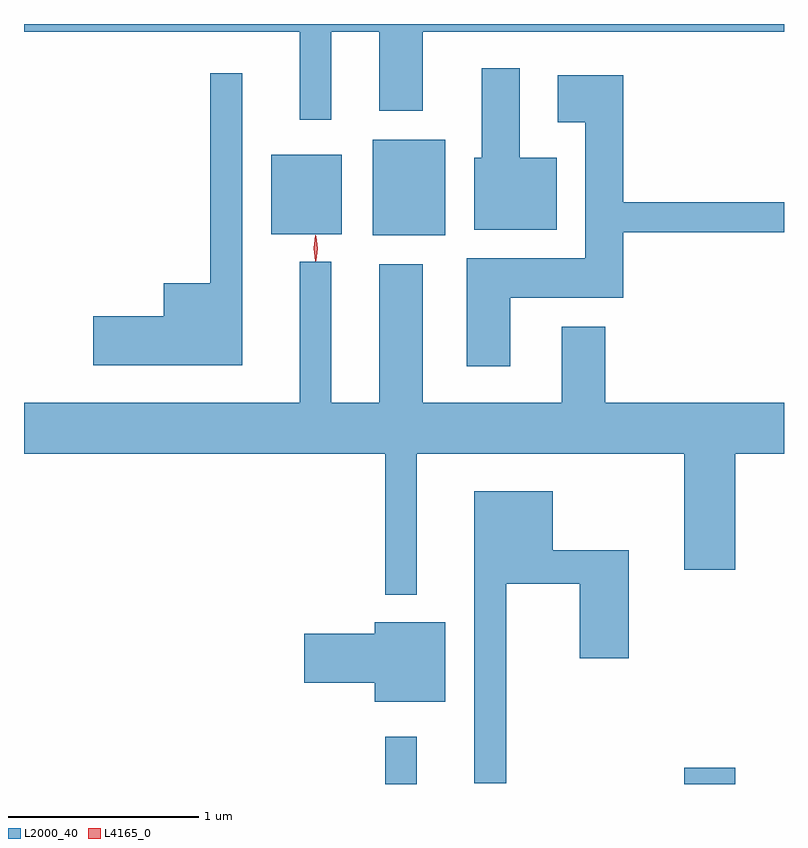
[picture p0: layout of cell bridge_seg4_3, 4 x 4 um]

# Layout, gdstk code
import gdstk
lib = gdstk.Library(unit=1e-6, precision=1e-09)
def R(c, l, rs):  # rectangles x0, y0, x1, y1
    for r in rs: c.add(gdstk.rectangle(r[:2], r[2:], *l))
def P(c, l, *ps):  # polygons
    for p in ps: c.add(gdstk.Polygon(p, *l))
L2000_40 = (2000, 40)
L4165_0 = (4165, 0)

bridge_seg4_3 = lib.new_cell('bridge_seg4_3')
R(bridge_seg4_3, L2000_40, [(1252.461,1379.578,1252.629,1379.828), (1254.036,1379.578,1254.304,1379.664), (1252.396,1382.466,1252.779,1382.969), (1251.861,1382.471,1252.234,1382.889)])
P(bridge_seg4_3, L2000_40, [(1252.179,1383.536),(1252.431,1383.536),(1252.431,1383.121),(1252.659,1383.121),(1252.659,1383.536),(1254.561,1383.536),(1254.561,1383.578),(1250.561,1383.578),(1250.561,1383.536),(1252.011,1383.536),(1252.011,1383.073),(1252.179,1383.073)],
  [(1253.364,1382.874),(1253.169,1382.874),(1253.169,1383.344),(1252.971,1383.344),(1252.971,1382.874),(1252.931,1382.874),(1252.931,1382.496),(1253.364,1382.496)],
  [(1251.709,1383.318),(1251.541,1383.318),(1251.541,1382.214),(1251.296,1382.214),(1251.296,1382.039),(1250.926,1382.039),(1250.926,1381.781),(1251.709,1381.781)],
  [(1253.119,1382.136),(1253.714,1382.136),(1253.714,1382.481),(1254.561,1382.481),(1254.561,1382.639),(1253.714,1382.639),(1253.714,1383.309),(1253.371,1383.309),(1253.371,1383.061),(1253.516,1383.061),(1253.516,1382.344),(1252.891,1382.344),(1252.891,1381.776),(1253.119,1381.776)],
  [(1252.629,1381.316),(1254.036,1381.316),(1254.036,1380.706),(1254.304,1380.706),(1254.304,1381.316),(1254.561,1381.316),(1254.561,1381.584),(1253.619,1381.584),(1253.619,1381.984),(1253.391,1381.984),(1253.391,1381.584),(1252.659,1381.584),(1252.659,1382.314),(1252.431,1382.314),(1252.431,1381.584),(1252.179,1381.584),(1252.179,1382.328),(1252.011,1382.328),(1252.011,1381.584),(1250.561,1381.584),(1250.561,1381.316),(1252.461,1381.316),(1252.461,1380.573),(1252.629,1380.573)],
  [(1253.099,1380.631),(1253.486,1380.631),(1253.486,1380.241),(1253.744,1380.241),(1253.744,1380.809),(1253.344,1380.809),(1253.344,1381.119),(1252.931,1381.119),(1252.931,1379.583),(1253.099,1379.583)],
  [(1252.779,1380.429),(1252.406,1380.429),(1252.406,1380.369),(1252.036,1380.369),(1252.036,1380.111),(1252.406,1380.111),(1252.406,1380.011),(1252.779,1380.011)])
P(bridge_seg4_3, L4165_0, [(1252.094,1382.33),(1252.085,1382.398),(1252.094,1382.466),(1252.095,1382.466),(1252.096,1382.466),(1252.105,1382.398),(1252.096,1382.33),(1252.095,1382.33)],
  [(1252.097,1382.333),(1252.088,1382.397),(1252.097,1382.462),(1252.098,1382.462),(1252.098,1382.462),(1252.108,1382.397),(1252.098,1382.333),(1252.098,1382.333)])

lib.write_gds('bridge_seg4_3.gds')
